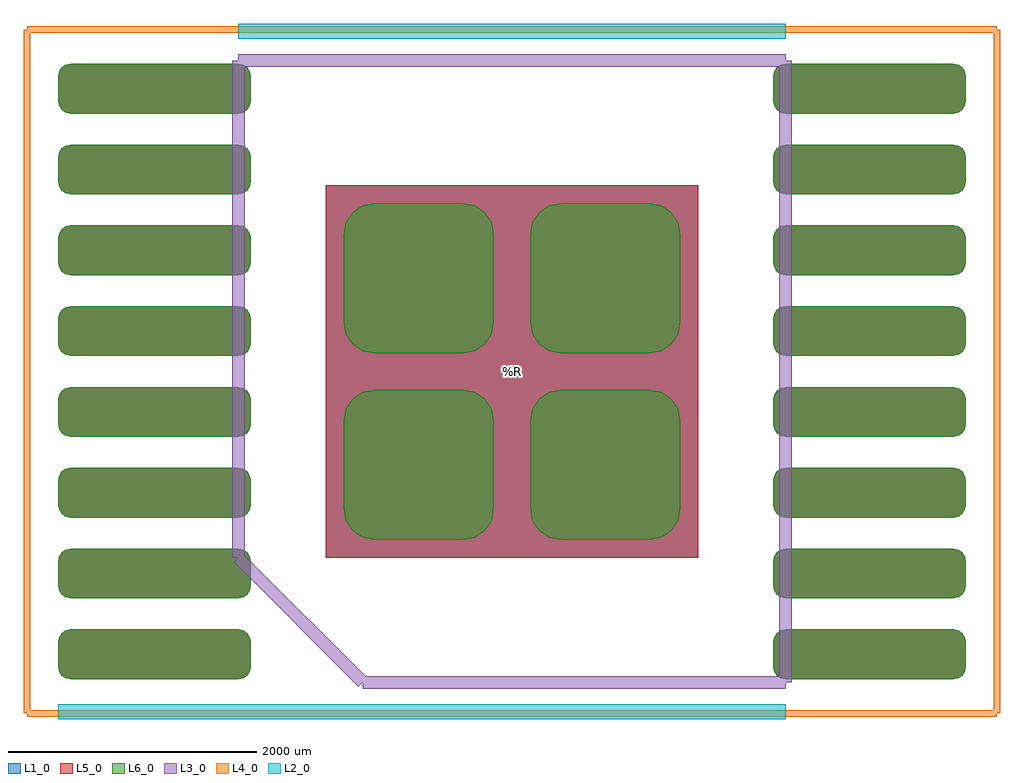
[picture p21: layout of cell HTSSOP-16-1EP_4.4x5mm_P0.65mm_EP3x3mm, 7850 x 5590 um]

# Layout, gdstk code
import gdstk
lib = gdstk.Library(unit=1e-6, precision=1e-09)
def R(c, l, rs):  # rectangles x0, y0, x1, y1
    for r in rs: c.add(gdstk.rectangle(r[:2], r[2:], *l))
def P(c, l, *ps):  # polygons
    for p in ps: c.add(gdstk.Polygon(p, *l))
L1_0 = (1, 0)
L2_0 = (2, 0)
L3_0 = (3, 0)
L4_0 = (4, 0)
L5_0 = (5, 0)
L6_0 = (6, 0)

htssop_16_1ep_4_4x5mm_p0 = lib.new_cell('HTSSOP-16-1EP_4.4x5mm_P0.65mm_EP3x3mm')
R(htssop_16_1ep_4_4x5mm_p0, L1_0, [(-1500,-1500,1500,1500)])
P(htssop_16_1ep_4_4x5mm_p0, L1_0, [(-2200,-2475),(-2162,-2467),(-2129,-2446),(-2108,-2413),(-2100,-2375),(-2100,-2175),(-2108,-2137),(-2129,-2104),(-2162,-2083),(-2200,-2075),(-3550,-2075),(-3588,-2083),(-3621,-2104),(-3642,-2137),(-3650,-2175),(-3650,-2375),(-3642,-2413),(-3621,-2446),(-3588,-2467),(-3550,-2475)],
  [(-2200,-1825),(-2162,-1817),(-2129,-1796),(-2108,-1763),(-2100,-1725),(-2100,-1525),(-2108,-1487),(-2129,-1454),(-2162,-1433),(-2200,-1425),(-3550,-1425),(-3588,-1433),(-3621,-1454),(-3642,-1487),(-3650,-1525),(-3650,-1725),(-3642,-1763),(-3621,-1796),(-3588,-1817),(-3550,-1825)],
  [(-2200,-1175),(-2162,-1167),(-2129,-1146),(-2108,-1113),(-2100,-1075),(-2100,-875),(-2108,-837),(-2129,-804),(-2162,-783),(-2200,-775),(-3550,-775),(-3588,-783),(-3621,-804),(-3642,-837),(-3650,-875),(-3650,-1075),(-3642,-1113),(-3621,-1146),(-3588,-1167),(-3550,-1175)],
  [(-2200,-525),(-2162,-517),(-2129,-496),(-2108,-463),(-2100,-425),(-2100,-225),(-2108,-187),(-2129,-154),(-2162,-133),(-2200,-125),(-3550,-125),(-3588,-133),(-3621,-154),(-3642,-187),(-3650,-225),(-3650,-425),(-3642,-463),(-3621,-496),(-3588,-517),(-3550,-525)],
  [(-2200,125),(-2162,133),(-2129,154),(-2108,187),(-2100,225),(-2100,425),(-2108,463),(-2129,496),(-2162,517),(-2200,525),(-3550,525),(-3588,517),(-3621,496),(-3642,463),(-3650,425),(-3650,225),(-3642,187),(-3621,154),(-3588,133),(-3550,125)],
  [(-2200,775),(-2162,783),(-2129,804),(-2108,837),(-2100,875),(-2100,1075),(-2108,1113),(-2129,1146),(-2162,1167),(-2200,1175),(-3550,1175),(-3588,1167),(-3621,1146),(-3642,1113),(-3650,1075),(-3650,875),(-3642,837),(-3621,804),(-3588,783),(-3550,775)],
  [(-2200,1425),(-2162,1433),(-2129,1454),(-2108,1487),(-2100,1525),(-2100,1725),(-2108,1763),(-2129,1796),(-2162,1817),(-2200,1825),(-3550,1825),(-3588,1817),(-3621,1796),(-3642,1763),(-3650,1725),(-3650,1525),(-3642,1487),(-3621,1454),(-3588,1433),(-3550,1425)],
  [(-2200,2075),(-2162,2083),(-2129,2104),(-2108,2137),(-2100,2175),(-2100,2375),(-2108,2413),(-2129,2446),(-2162,2467),(-2200,2475),(-3550,2475),(-3588,2467),(-3621,2446),(-3642,2413),(-3650,2375),(-3650,2175),(-3642,2137),(-3621,2104),(-3588,2083),(-3550,2075)],
  [(3550,2075),(3588,2083),(3621,2104),(3642,2137),(3650,2175),(3650,2375),(3642,2413),(3621,2446),(3588,2467),(3550,2475),(2200,2475),(2162,2467),(2129,2446),(2108,2413),(2100,2375),(2100,2175),(2108,2137),(2129,2104),(2162,2083),(2200,2075)],
  [(3550,1425),(3588,1433),(3621,1454),(3642,1487),(3650,1525),(3650,1725),(3642,1763),(3621,1796),(3588,1817),(3550,1825),(2200,1825),(2162,1817),(2129,1796),(2108,1763),(2100,1725),(2100,1525),(2108,1487),(2129,1454),(2162,1433),(2200,1425)],
  [(3550,775),(3588,783),(3621,804),(3642,837),(3650,875),(3650,1075),(3642,1113),(3621,1146),(3588,1167),(3550,1175),(2200,1175),(2162,1167),(2129,1146),(2108,1113),(2100,1075),(2100,875),(2108,837),(2129,804),(2162,783),(2200,775)],
  [(3550,125),(3588,133),(3621,154),(3642,187),(3650,225),(3650,425),(3642,463),(3621,496),(3588,517),(3550,525),(2200,525),(2162,517),(2129,496),(2108,463),(2100,425),(2100,225),(2108,187),(2129,154),(2162,133),(2200,125)],
  [(3550,-525),(3588,-517),(3621,-496),(3642,-463),(3650,-425),(3650,-225),(3642,-187),(3621,-154),(3588,-133),(3550,-125),(2200,-125),(2162,-133),(2129,-154),(2108,-187),(2100,-225),(2100,-425),(2108,-463),(2129,-496),(2162,-517),(2200,-525)],
  [(3550,-1175),(3588,-1167),(3621,-1146),(3642,-1113),(3650,-1075),(3650,-875),(3642,-837),(3621,-804),(3588,-783),(3550,-775),(2200,-775),(2162,-783),(2129,-804),(2108,-837),(2100,-875),(2100,-1075),(2108,-1113),(2129,-1146),(2162,-1167),(2200,-1175)],
  [(3550,-1825),(3588,-1817),(3621,-1796),(3642,-1763),(3650,-1725),(3650,-1525),(3642,-1487),(3621,-1454),(3588,-1433),(3550,-1425),(2200,-1425),(2162,-1433),(2129,-1454),(2108,-1487),(2100,-1525),(2100,-1725),(2108,-1763),(2129,-1796),(2162,-1817),(2200,-1825)],
  [(3550,-2475),(3588,-2467),(3621,-2446),(3642,-2413),(3650,-2375),(3650,-2175),(3642,-2137),(3621,-2104),(3588,-2083),(3550,-2075),(2200,-2075),(2162,-2083),(2129,-2104),(2108,-2137),(2100,-2175),(2100,-2375),(2108,-2413),(2129,-2446),(2162,-2467),(2200,-2475)])
R(htssop_16_1ep_4_4x5mm_p0, L5_0, [(-1500,-1500,1500,1500)])
P(htssop_16_1ep_4_4x5mm_p0, L5_0, [(-2200,-2475),(-2162,-2467),(-2129,-2446),(-2108,-2413),(-2100,-2375),(-2100,-2175),(-2108,-2137),(-2129,-2104),(-2162,-2083),(-2200,-2075),(-3550,-2075),(-3588,-2083),(-3621,-2104),(-3642,-2137),(-3650,-2175),(-3650,-2375),(-3642,-2413),(-3621,-2446),(-3588,-2467),(-3550,-2475)],
  [(-2200,-1825),(-2162,-1817),(-2129,-1796),(-2108,-1763),(-2100,-1725),(-2100,-1525),(-2108,-1487),(-2129,-1454),(-2162,-1433),(-2200,-1425),(-3550,-1425),(-3588,-1433),(-3621,-1454),(-3642,-1487),(-3650,-1525),(-3650,-1725),(-3642,-1763),(-3621,-1796),(-3588,-1817),(-3550,-1825)],
  [(-2200,-1175),(-2162,-1167),(-2129,-1146),(-2108,-1113),(-2100,-1075),(-2100,-875),(-2108,-837),(-2129,-804),(-2162,-783),(-2200,-775),(-3550,-775),(-3588,-783),(-3621,-804),(-3642,-837),(-3650,-875),(-3650,-1075),(-3642,-1113),(-3621,-1146),(-3588,-1167),(-3550,-1175)],
  [(-2200,-525),(-2162,-517),(-2129,-496),(-2108,-463),(-2100,-425),(-2100,-225),(-2108,-187),(-2129,-154),(-2162,-133),(-2200,-125),(-3550,-125),(-3588,-133),(-3621,-154),(-3642,-187),(-3650,-225),(-3650,-425),(-3642,-463),(-3621,-496),(-3588,-517),(-3550,-525)],
  [(-2200,125),(-2162,133),(-2129,154),(-2108,187),(-2100,225),(-2100,425),(-2108,463),(-2129,496),(-2162,517),(-2200,525),(-3550,525),(-3588,517),(-3621,496),(-3642,463),(-3650,425),(-3650,225),(-3642,187),(-3621,154),(-3588,133),(-3550,125)],
  [(-2200,775),(-2162,783),(-2129,804),(-2108,837),(-2100,875),(-2100,1075),(-2108,1113),(-2129,1146),(-2162,1167),(-2200,1175),(-3550,1175),(-3588,1167),(-3621,1146),(-3642,1113),(-3650,1075),(-3650,875),(-3642,837),(-3621,804),(-3588,783),(-3550,775)],
  [(-2200,1425),(-2162,1433),(-2129,1454),(-2108,1487),(-2100,1525),(-2100,1725),(-2108,1763),(-2129,1796),(-2162,1817),(-2200,1825),(-3550,1825),(-3588,1817),(-3621,1796),(-3642,1763),(-3650,1725),(-3650,1525),(-3642,1487),(-3621,1454),(-3588,1433),(-3550,1425)],
  [(-2200,2075),(-2162,2083),(-2129,2104),(-2108,2137),(-2100,2175),(-2100,2375),(-2108,2413),(-2129,2446),(-2162,2467),(-2200,2475),(-3550,2475),(-3588,2467),(-3621,2446),(-3642,2413),(-3650,2375),(-3650,2175),(-3642,2137),(-3621,2104),(-3588,2083),(-3550,2075)],
  [(3550,2075),(3588,2083),(3621,2104),(3642,2137),(3650,2175),(3650,2375),(3642,2413),(3621,2446),(3588,2467),(3550,2475),(2200,2475),(2162,2467),(2129,2446),(2108,2413),(2100,2375),(2100,2175),(2108,2137),(2129,2104),(2162,2083),(2200,2075)],
  [(3550,1425),(3588,1433),(3621,1454),(3642,1487),(3650,1525),(3650,1725),(3642,1763),(3621,1796),(3588,1817),(3550,1825),(2200,1825),(2162,1817),(2129,1796),(2108,1763),(2100,1725),(2100,1525),(2108,1487),(2129,1454),(2162,1433),(2200,1425)],
  [(3550,775),(3588,783),(3621,804),(3642,837),(3650,875),(3650,1075),(3642,1113),(3621,1146),(3588,1167),(3550,1175),(2200,1175),(2162,1167),(2129,1146),(2108,1113),(2100,1075),(2100,875),(2108,837),(2129,804),(2162,783),(2200,775)],
  [(3550,125),(3588,133),(3621,154),(3642,187),(3650,225),(3650,425),(3642,463),(3621,496),(3588,517),(3550,525),(2200,525),(2162,517),(2129,496),(2108,463),(2100,425),(2100,225),(2108,187),(2129,154),(2162,133),(2200,125)],
  [(3550,-525),(3588,-517),(3621,-496),(3642,-463),(3650,-425),(3650,-225),(3642,-187),(3621,-154),(3588,-133),(3550,-125),(2200,-125),(2162,-133),(2129,-154),(2108,-187),(2100,-225),(2100,-425),(2108,-463),(2129,-496),(2162,-517),(2200,-525)],
  [(3550,-1175),(3588,-1167),(3621,-1146),(3642,-1113),(3650,-1075),(3650,-875),(3642,-837),(3621,-804),(3588,-783),(3550,-775),(2200,-775),(2162,-783),(2129,-804),(2108,-837),(2100,-875),(2100,-1075),(2108,-1113),(2129,-1146),(2162,-1167),(2200,-1175)],
  [(3550,-1825),(3588,-1817),(3621,-1796),(3642,-1763),(3650,-1725),(3650,-1525),(3642,-1487),(3621,-1454),(3588,-1433),(3550,-1425),(2200,-1425),(2162,-1433),(2129,-1454),(2108,-1487),(2100,-1525),(2100,-1725),(2108,-1763),(2129,-1796),(2162,-1817),(2200,-1825)],
  [(3550,-2475),(3588,-2467),(3621,-2446),(3642,-2413),(3650,-2375),(3650,-2175),(3642,-2137),(3621,-2104),(3588,-2083),(3550,-2075),(2200,-2075),(2162,-2083),(2129,-2104),(2108,-2137),(2100,-2175),(2100,-2375),(2108,-2413),(2129,-2446),(2162,-2467),(2200,-2475)])
P(htssop_16_1ep_4_4x5mm_p0, L6_0, [(-2200,-2475),(-2162,-2467),(-2129,-2446),(-2108,-2413),(-2100,-2375),(-2100,-2175),(-2108,-2137),(-2129,-2104),(-2162,-2083),(-2200,-2075),(-3550,-2075),(-3588,-2083),(-3621,-2104),(-3642,-2137),(-3650,-2175),(-3650,-2375),(-3642,-2413),(-3621,-2446),(-3588,-2467),(-3550,-2475)],
  [(-2200,-1825),(-2162,-1817),(-2129,-1796),(-2108,-1763),(-2100,-1725),(-2100,-1525),(-2108,-1487),(-2129,-1454),(-2162,-1433),(-2200,-1425),(-3550,-1425),(-3588,-1433),(-3621,-1454),(-3642,-1487),(-3650,-1525),(-3650,-1725),(-3642,-1763),(-3621,-1796),(-3588,-1817),(-3550,-1825)],
  [(-2200,-1175),(-2162,-1167),(-2129,-1146),(-2108,-1113),(-2100,-1075),(-2100,-875),(-2108,-837),(-2129,-804),(-2162,-783),(-2200,-775),(-3550,-775),(-3588,-783),(-3621,-804),(-3642,-837),(-3650,-875),(-3650,-1075),(-3642,-1113),(-3621,-1146),(-3588,-1167),(-3550,-1175)],
  [(-2200,-525),(-2162,-517),(-2129,-496),(-2108,-463),(-2100,-425),(-2100,-225),(-2108,-187),(-2129,-154),(-2162,-133),(-2200,-125),(-3550,-125),(-3588,-133),(-3621,-154),(-3642,-187),(-3650,-225),(-3650,-425),(-3642,-463),(-3621,-496),(-3588,-517),(-3550,-525)],
  [(-2200,125),(-2162,133),(-2129,154),(-2108,187),(-2100,225),(-2100,425),(-2108,463),(-2129,496),(-2162,517),(-2200,525),(-3550,525),(-3588,517),(-3621,496),(-3642,463),(-3650,425),(-3650,225),(-3642,187),(-3621,154),(-3588,133),(-3550,125)],
  [(-2200,775),(-2162,783),(-2129,804),(-2108,837),(-2100,875),(-2100,1075),(-2108,1113),(-2129,1146),(-2162,1167),(-2200,1175),(-3550,1175),(-3588,1167),(-3621,1146),(-3642,1113),(-3650,1075),(-3650,875),(-3642,837),(-3621,804),(-3588,783),(-3550,775)],
  [(-2200,1425),(-2162,1433),(-2129,1454),(-2108,1487),(-2100,1525),(-2100,1725),(-2108,1763),(-2129,1796),(-2162,1817),(-2200,1825),(-3550,1825),(-3588,1817),(-3621,1796),(-3642,1763),(-3650,1725),(-3650,1525),(-3642,1487),(-3621,1454),(-3588,1433),(-3550,1425)],
  [(-2200,2075),(-2162,2083),(-2129,2104),(-2108,2137),(-2100,2175),(-2100,2375),(-2108,2413),(-2129,2446),(-2162,2467),(-2200,2475),(-3550,2475),(-3588,2467),(-3621,2446),(-3642,2413),(-3650,2375),(-3650,2175),(-3642,2137),(-3621,2104),(-3588,2083),(-3550,2075)],
  [(3550,2075),(3588,2083),(3621,2104),(3642,2137),(3650,2175),(3650,2375),(3642,2413),(3621,2446),(3588,2467),(3550,2475),(2200,2475),(2162,2467),(2129,2446),(2108,2413),(2100,2375),(2100,2175),(2108,2137),(2129,2104),(2162,2083),(2200,2075)],
  [(3550,1425),(3588,1433),(3621,1454),(3642,1487),(3650,1525),(3650,1725),(3642,1763),(3621,1796),(3588,1817),(3550,1825),(2200,1825),(2162,1817),(2129,1796),(2108,1763),(2100,1725),(2100,1525),(2108,1487),(2129,1454),(2162,1433),(2200,1425)],
  [(3550,775),(3588,783),(3621,804),(3642,837),(3650,875),(3650,1075),(3642,1113),(3621,1146),(3588,1167),(3550,1175),(2200,1175),(2162,1167),(2129,1146),(2108,1113),(2100,1075),(2100,875),(2108,837),(2129,804),(2162,783),(2200,775)],
  [(3550,125),(3588,133),(3621,154),(3642,187),(3650,225),(3650,425),(3642,463),(3621,496),(3588,517),(3550,525),(2200,525),(2162,517),(2129,496),(2108,463),(2100,425),(2100,225),(2108,187),(2129,154),(2162,133),(2200,125)],
  [(3550,-525),(3588,-517),(3621,-496),(3642,-463),(3650,-425),(3650,-225),(3642,-187),(3621,-154),(3588,-133),(3550,-125),(2200,-125),(2162,-133),(2129,-154),(2108,-187),(2100,-225),(2100,-425),(2108,-463),(2129,-496),(2162,-517),(2200,-525)],
  [(3550,-1175),(3588,-1167),(3621,-1146),(3642,-1113),(3650,-1075),(3650,-875),(3642,-837),(3621,-804),(3588,-783),(3550,-775),(2200,-775),(2162,-783),(2129,-804),(2108,-837),(2100,-875),(2100,-1075),(2108,-1113),(2129,-1146),(2162,-1167),(2200,-1175)],
  [(3550,-1825),(3588,-1817),(3621,-1796),(3642,-1763),(3650,-1725),(3650,-1525),(3642,-1487),(3621,-1454),(3588,-1433),(3550,-1425),(2200,-1425),(2162,-1433),(2129,-1454),(2108,-1487),(2100,-1525),(2100,-1725),(2108,-1763),(2129,-1796),(2162,-1817),(2200,-1825)],
  [(3550,-2475),(3588,-2467),(3621,-2446),(3642,-2413),(3650,-2375),(3650,-2175),(3642,-2137),(3621,-2104),(3588,-2083),(3550,-2075),(2200,-2075),(2162,-2083),(2129,-2104),(2108,-2137),(2100,-2175),(2100,-2375),(2108,-2413),(2129,-2446),(2162,-2467),(2200,-2475)],
  [(-395,-1355),(-299,-1336),(-218,-1282),(-164,-1201),(-145,-1105),(-145,-395),(-164,-299),(-218,-218),(-299,-164),(-395,-145),(-1105,-145),(-1201,-164),(-1282,-218),(-1336,-299),(-1355,-395),(-1355,-1105),(-1336,-1201),(-1282,-1282),(-1201,-1336),(-1105,-1355)],
  [(-395,145),(-299,164),(-218,218),(-164,299),(-145,395),(-145,1105),(-164,1201),(-218,1282),(-299,1336),(-395,1355),(-1105,1355),(-1201,1336),(-1282,1282),(-1336,1201),(-1355,1105),(-1355,395),(-1336,299),(-1282,218),(-1201,164),(-1105,145)],
  [(1105,-1355),(1201,-1336),(1282,-1282),(1336,-1201),(1355,-1105),(1355,-395),(1336,-299),(1282,-218),(1201,-164),(1105,-145),(395,-145),(299,-164),(218,-218),(164,-299),(145,-395),(145,-1105),(164,-1201),(218,-1282),(299,-1336),(395,-1355)],
  [(1105,145),(1201,164),(1282,218),(1336,299),(1355,395),(1355,1105),(1336,1201),(1282,1282),(1201,1336),(1105,1355),(395,1355),(299,1336),(218,1282),(164,1201),(145,1105),(145,395),(164,299),(218,218),(299,164),(395,145)])
htssop_16_1ep_4_4x5mm_p0.add(gdstk.FlexPath([(0,2735),(2200,2735)], 120, ends="flush", simple_path=True, layer=2, datatype=0))  # L2_0
htssop_16_1ep_4_4x5mm_p0.add(gdstk.FlexPath([(0,2735),(-2200,2735)], 120, ends="flush", simple_path=True, layer=2, datatype=0))  # L2_0
htssop_16_1ep_4_4x5mm_p0.add(gdstk.FlexPath([(0,-2735),(2200,-2735)], 120, ends="flush", simple_path=True, layer=2, datatype=0))  # L2_0
htssop_16_1ep_4_4x5mm_p0.add(gdstk.FlexPath([(0,-2735),(-3650,-2735)], 120, ends="flush", simple_path=True, layer=2, datatype=0))  # L2_0
htssop_16_1ep_4_4x5mm_p0.add(gdstk.FlexPath([(-1200,-2500),(2200,-2500)], 100, ends="flush", simple_path=True, layer=3, datatype=0))  # L3_0
htssop_16_1ep_4_4x5mm_p0.add(gdstk.FlexPath([(2200,-2500),(2200,2500)], 100, ends="flush", simple_path=True, layer=3, datatype=0))  # L3_0
htssop_16_1ep_4_4x5mm_p0.add(gdstk.FlexPath([(2200,2500),(-2200,2500)], 100, ends="flush", simple_path=True, layer=3, datatype=0))  # L3_0
htssop_16_1ep_4_4x5mm_p0.add(gdstk.FlexPath([(-2200,2500),(-2200,-1500)], 100, ends="flush", simple_path=True, layer=3, datatype=0))  # L3_0
htssop_16_1ep_4_4x5mm_p0.add(gdstk.FlexPath([(-2200,-1500),(-1200,-2500)], 100, ends="flush", simple_path=True, layer=3, datatype=0))  # L3_0
htssop_16_1ep_4_4x5mm_p0.add(gdstk.FlexPath([(-3900,-2750),(-3900,2750)], 50, ends="flush", simple_path=True, layer=4, datatype=0))  # L4_0
htssop_16_1ep_4_4x5mm_p0.add(gdstk.FlexPath([(-3900,2750),(3900,2750)], 50, ends="flush", simple_path=True, layer=4, datatype=0))  # L4_0
htssop_16_1ep_4_4x5mm_p0.add(gdstk.FlexPath([(3900,2750),(3900,-2750)], 50, ends="flush", simple_path=True, layer=4, datatype=0))  # L4_0
htssop_16_1ep_4_4x5mm_p0.add(gdstk.FlexPath([(3900,-2750),(-3900,-2750)], 50, ends="flush", simple_path=True, layer=4, datatype=0))  # L4_0
htssop_16_1ep_4_4x5mm_p0.add(gdstk.Label('REF**', (0,-3450), layer=2, texttype=0))
htssop_16_1ep_4_4x5mm_p0.add(gdstk.Label('HTSSOP-16-1EP_4.4x5mm_P0.65mm_EP3x3mm', (0,3450), layer=3, texttype=0))
htssop_16_1ep_4_4x5mm_p0.add(gdstk.Label('%R', (0,0), layer=3, texttype=0))

lib.write_gds('HTSSOP-16-1EP_4.4x5mm_P0.65mm_EP3x3mm.gds')
